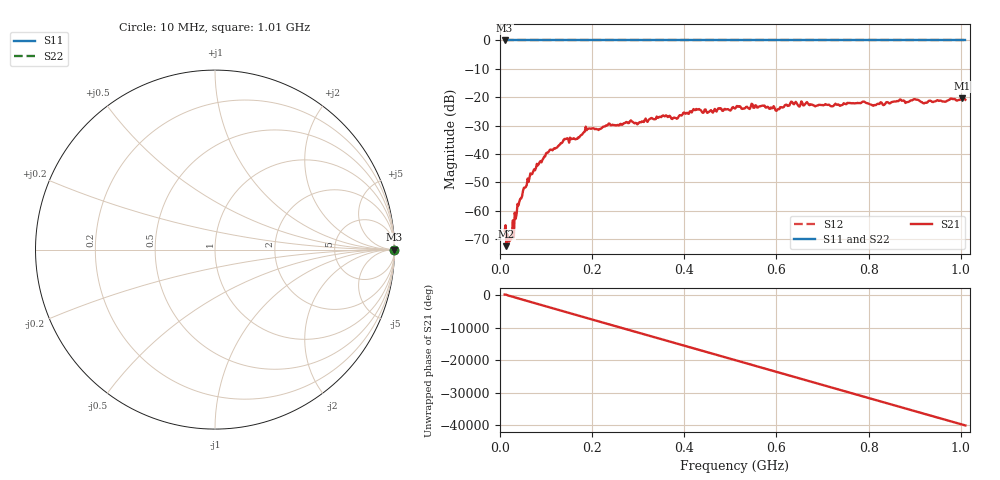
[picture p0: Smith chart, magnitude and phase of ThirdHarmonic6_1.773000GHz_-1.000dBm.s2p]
! 8/16/2025 9:25:30 PM
! C:\ANRITSUVNA\TEMP\TEMP.S2P
! CHANNEL.1
! TR.MEASUREMENT
! RAW.DATA
! RF.CORRECTION.OFF
! AVERAGING.OFF
! IF.BANDWIDTH: 5KHZ
! SWEEPTYPE:  FREQ.SWEEP(Linear)
! Reference Plane Port Info
! PORT:  PORT1  PORT2
! DISTANCE:  0  m  0  m
! TIME:  0  s  0  s
! PHASE.OFFSET:  0  deg.  0  deg.
! LOSS:  0  dB  0  dB
! REF.LOSS:  0  dB  0  dB
! REF.FREQ:  0  Hz  0  Hz
! Power Info
! POWER:  -20  dBm  -20  dBm
! EFF.POWER:  -20  dBm  -20  dBm
! SOURCE.ATTEN:  0  dB  0  dB
! TEST.ATTEN:  0  dB  0  dB
# GHZ S RI R 50.0
! FREQ.GHZ  S11RE  S11IM  S21RE  S21IM  S12RE  S12IM  S22RE  S22IM
!; PortSelection: Port_12
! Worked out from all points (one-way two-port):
!   501 points, 10 MHz to 1.01 GHz, reference 50 ohm
!   highest |S21| = -20.43 dB at 1.002 GHz (marker M1); lowest = -72.6 dB at 14 MHz (marker M2)
!   lowest |S11| = 0.0 dB at 10 MHz (marker M3)
!   |S11| at or under -10 dB: nowhere
!   |S22| runs from 0.0 to 0.0 dB; largest |S21 - S12| = 1.1
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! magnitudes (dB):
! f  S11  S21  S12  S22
! 10 MHz  0.0  -67.2  0.0  0.0
! 14 MHz  0.0  -72.6  0.0  0.0
! 18 MHz  0.0  -69.8  0.0  0.0
! 22 MHz  0.0  -70.1  0.0  0.0
! 26 MHz  0.0  -67.9  0.0  0.0
! 36 MHz  0.0  -61.4  0.0  0.0
! 48 MHz  0.0  -54.9  0.0  0.0
! 64 MHz  0.0  -48.4  0.0  0.0
! 84 MHz  0.0  -43.6  0.0  0.0
! 142 MHz  0.0  -34.8  0.0  0.0
! 178 MHz  0.0  -33.2  0.0  0.0
! 190 MHz  0.0  -31.2  0.0  0.0
! 344 MHz  0.0  -27.2  0.0  0.0
! 382 MHz  0.0  -27.4  0.0  0.0
! 510 MHz  0.0  -24.0  0.0  0.0
! 570 MHz  0.0  -23.0  0.0  0.0
! 602 MHz  0.0  -24.3  0.0  0.0
! 634 MHz  0.0  -21.7  0.0  0.0
! 678 MHz  0.0  -22.7  0.0  0.0
! 844 MHz  0.0  -22.1  0.0  0.0
! 1.002 GHz  0.0  -20.4  0.0  0.0
! 1.01 GHz  0.0  -20.9  0.0  0.0
